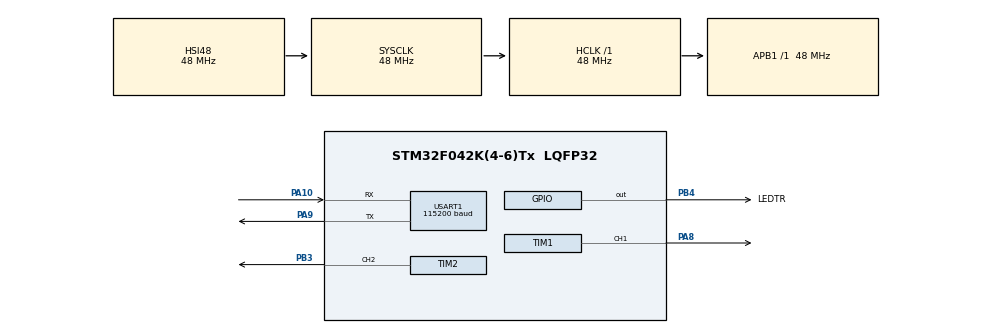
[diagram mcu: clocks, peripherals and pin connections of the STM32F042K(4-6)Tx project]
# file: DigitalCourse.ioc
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Mcu.Family=STM32F0
PA10.Mode=Asynchronous
USART1.BaudRate=115200
PA14.GPIO_Label=SWCLK
TIM2.Channel-PWM\ Generation2\ CH2=TIM_CHANNEL_2
RCC.SYSCLKSource=RCC_SYSCLKSOURCE_HSI48
ProjectManager.StackSize=0x400
USART1.VirtualMode-Asynchronous=VM_ASYNC
PA13.Signal=SYS_SWDIO
SH.S_TIM2_CH2.0=TIM2_CH2,PWM Generation2 CH2
PA9.Mode=Asynchronous
TIM1.Prescaler=48000-1
SH.S_TIM1_CH1.0=TIM1_CH1,PWM Generation1 CH1
ProjectManager.TargetToolchain=STM32CubeIDE
RCC.HCLKFreq_Value=48000000
PA9.Signal=USART1_TX
RCC.AHBFreq_Value=48000000
PF0-OSC_IN.Mode=HSE-External-Clock-Source
PF0-OSC_IN.GPIO_Label=MCO
board=NUCLEO-F042K6
PB4.GPIO_Label=LEDTR
TIM1.Channel-PWM\ Generation1\ CH1=TIM_CHANNEL_1
PA14.Mode=Serial_Wire
NVIC.TIM2_IRQn=true\:0\:0\:false\:false\:true\:true\:true
PA8.Signal=S_TIM1_CH1
TIM2.Period=0
PA13.Mode=Serial_Wire
Mcu.Name=STM32F042K(4-6)Tx
PA13.GPIO_Label=SWDIO
NVIC.TIM1_CC_IRQn=true\:0\:0\:false\:false\:true\:true\:true
PB3.Signal=S_TIM2_CH2
RCC.SYSCLKFreq_VALUE=48000000
Mcu.Package=LQFP32
TIM2.Prescaler=480-1
PA10.Signal=USART1_RX
PA14.Signal=SYS_SWCLK
ProjectManager.HeapSize=0x200
RCC.APB1TimFreq_Value=48000000
TIM1.Period=1000
PF0-OSC_IN.Signal=RCC_OSC_IN
RCC.APB1Freq_Value=48000000
PB4.Signal=GPIO_Output

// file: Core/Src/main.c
/* USER CODE BEGIN Header */
/**
  ******************************************************************************
  * @file           : main.c
  * @brief          : Main program body
  ******************************************************************************
  * @attention
  *
  * <h2><center>&copy; Copyright (c) 2021 STMicroelectronics.
  * All rights reserved.</center></h2>
  *
  * This software component is licensed by ST under BSD 3-Clause license,
  * the "License"; You may not use this file except in compliance with the
  * License. You may obtain a copy of the License at:
  *                        opensource.org/licenses/BSD-3-Clause
  *
  ******************************************************************************
  */
/* USER CODE END Header */
#include "main.h"

/* USER CODE BEGIN Includes */
#include <string.h>
#include <stdlib.h>
#include <stdio.h>
/* USER CODE END Includes */

TIM_HandleTypeDef htim1;
TIM_HandleTypeDef htim2;

UART_HandleTypeDef huart1;

void SystemClock_Config(void);
static void MX_GPIO_Init(void);
static void MX_USART1_UART_Init(void);
static void MX_TIM1_Init(void);
static void MX_TIM2_Init(void);

/* USER CODE BEGIN 0 */

  uint16_t StrCounter = 0;
  uint8_t buf = 0;
  char string[1024] = { 0 };
  char text[1025] = { 0 };
  char briefly[3] = {8, 32, 8};
  int pulse = 0;
  int dir = 10;
  _Bool flag = 0;
  char FixText[256][8] = { 0 };

  //Прерывание таймера
  void HAL_TIM_PWM_PulseFinishedCallback(TIM_HandleTypeDef *htim){
//	  char *test = "callback\r\n";
//	  HAL_UART_Transmit(&huart1, test, strlen(test), -1);

	  if(htim == &htim2){
		  pulse += dir;
		  if(pulse == 150){
			  dir = -1;
		  } else if(pulse == 0){
			  dir = 1;
		  }
		  TIM2->CCR2 = pulse;
	  }
//	  else if(htim == &htim1){
//		  if(flag == 1){
//			  htim1.Instance->CCR1 = 750;
//			  HAL_Delay(1000);
//			  htim1.Instance->CCR1 = 250;
//			  HAL_Delay(1000);
//			  htim1.Instance->CCR1 = 250;
//			  HAL_Delay(1000);
//
//			  HAL_GPIO_WritePin(LEDTR_GPIO_Port, LEDTR_Pin, GPIO_PIN_SET);
//
//			  for(int a = 0; a < 256; a++){
//				  for(int b = 0; b < 8; b++){
//					  if(FixText[a][b] == 0){
//						  TIM1->CCR1 = 250;
//					  }else if(FixText[a][b] == 1){
//						  TIM1->CCR1 = 750;
//					  } else TIM1->CCR1 = 1000;
////					  HAL_Delay(1000);
//				  }
//			  }
//	  		  HAL_GPIO_WritePin(LEDTR_GPIO_Port, LEDTR_Pin, GPIO_PIN_RESET);
//			  char *test = "callback end\r\n";
//			  HAL_UART_Transmit(&huart1, test, strlen(test), -1);
//			  flag = 0;
//		  }
//	  }
  }

/* USER CODE END 0 */

int main(void)
{

  /* MCU Configuration--------------------------------------------------------*/

  /* Reset of all peripherals, Initializes the Flash interface and the Systick. */
  HAL_Init();

  /* Configure the system clock */
  SystemClock_Config();

  /* Initialize all configured peripherals */
  MX_GPIO_Init();
  MX_USART1_UART_Init();
  MX_TIM1_Init();
  MX_TIM2_Init();
  /* USER CODE BEGIN 2 */
	HAL_TIM_PWM_Start_IT(&htim1, TIM_CHANNEL_1);
	HAL_TIM_PWM_Start_IT(&htim2, TIM_CHANNEL_2);

	TIM2->CCR2 = 500;
	TIM2->ARR = 1000;
	  //Здороваюсь
	  char *hello = "\r\nAsk me:  ";
	  HAL_UART_Transmit(&huart1, hello, strlen(hello), -1);

  /* USER CODE END 2 */

  /* Infinite loop */
  /* USER CODE BEGIN WHILE */
  while (1)
  {

	  // Передача данных, если пришло удаление
	  if(HAL_UART_Receive(&huart1, &buf, 1, 0)== HAL_OK) {
//		  HAL_GPIO_WritePin(LEDTR_GPIO_Port, LEDTR_Pin, GPIO_PIN_SET);

		  if(buf == 127){
			  if(StrCounter != 0){
				  HAL_UART_Transmit(&huart1, &briefly, 3, -1);
				  string[--StrCounter] = 0;
			  }
		  } else {
			  HAL_UART_Transmit(&huart1, &buf, 1, -1);
			  string[StrCounter] = buf;
			  StrCounter++;
		  }

	  // Передача данных на компьютер
	  	  if(buf == 13){
	  		  StrCounter--;
	  		  sprintf(text, "\r\nText is: %s\r\n", string);
	  		  HAL_UART_Transmit(&huart1, text, strlen(text), -1);

	  		  char FixText[StrCounter][8];
	  		  for(uint16_t i = 0; i < StrCounter; i++){
	  			  for(uint16_t j = 0; j < 8; j++){
	  				  FixText[i][j] = 0;
	  			  }
	  		  }
			  //Передача строки в PWM
//	  		  char *TR = "Transmitting...\r\n";
//	  		  HAL_UART_Transmit(&huart1, TR, strlen(TR), -1);

	  		  for(uint16_t i = 0; i < StrCounter; i++){

	  			  //Запись символа в 10 системе
	  			  char symbol = string[i]; // 62, 2 ,3, 4
	  			  int cell = 7;

	  			  // Перевод символа в двоичную систему
	  			  while(symbol != 0){
	  				  if(symbol % 2 == 0){
	  					  FixText[i][cell] = 0;
	  					  symbol /= 2;
	  					  cell--;
	  				  } else {
	  					  FixText[i][cell] = 1;
	  					  symbol /= 2;
	  					  cell--;
	  				  }
	  			  }

	  		  }
  			  //Работа с таймером PWM
//	  		  flag = 1;

			htim1.Instance->CCR1 = 750;
			HAL_Delay(1000);
			htim1.Instance->CCR1 = 250;
			HAL_Delay(1000);
			htim1.Instance->CCR1 = 750;
			HAL_Delay(1000);

	  		  for(int a = 0; a < StrCounter; a++){
	  			  for(int b = 0; b < 8; b++){
	  				  if(FixText[a][b] == 0){
	  					  htim1.Instance->CCR1 = 250;
	  				  } else if(FixText[a][b] == 1){
	  					  htim1.Instance->CCR1 = 750;
	  				  } else htim1.Instance->CCR1 = 1000;
	  				  HAL_Delay(1000);
	  			  }
	  		  }

  			  //Конец работы в PWM
	  		char *EndTR = "End transmittin...\r\n";
	  		HAL_UART_Transmit(&huart1, EndTR, strlen(EndTR), -1);
	  		htim1.Instance->CCR1 = 0;

  			  // Очистка массива
	  		  for(uint16_t k = 0; k < 1024; k++){
	  			  string[k] = 0;
	  		  }
	  		  HAL_UART_Transmit(&huart1, hello, strlen(hello), -1);
	  		  StrCounter = 0;
	  	  }

	  	  buf = 0;
//  		  HAL_GPIO_WritePin(LEDTR_GPIO_Port, LEDTR_Pin, GPIO_PIN_RESET);

	  }

//	  //Мигание светодиода на отладке
//	  uint16_t tick = __HAL_TIM_GET_COUNTER(&htim14);
//	  if(0 < tick && tick < 100){
//		  HAL_GPIO_WritePin(LED_GPIO_Port, LED_Pin, GPIO_PIN_RESET);
//	  } else {
//		  HAL_GPIO_WritePin(LED_GPIO_Port, LED_Pin, GPIO_PIN_SET);
//	  }

    /* USER CODE END WHILE */

  }
}

void SystemClock_Config(void)
{
  RCC_OscInitTypeDef RCC_OscInitStruct = {0};
  RCC_ClkInitTypeDef RCC_ClkInitStruct = {0};
  RCC_PeriphCLKInitTypeDef PeriphClkInit = {0};

  /** Initializes the RCC Oscillators according to the specified parameters
  * in the RCC_OscInitTypeDef structure.
  */
  RCC_OscInitStruct.OscillatorType = RCC_OSCILLATORTYPE_HSI48;
  RCC_OscInitStruct.HSI48State = RCC_HSI48_ON;
  RCC_OscInitStruct.PLL.PLLState = RCC_PLL_NONE;
  if (HAL_RCC_OscConfig(&RCC_OscInitStruct) != HAL_OK)
  {
    Error_Handler();
  }
  /** Initializes the CPU, AHB and APB buses clocks
  */
  RCC_ClkInitStruct.ClockType = RCC_CLOCKTYPE_HCLK|RCC_CLOCKTYPE_SYSCLK
                              |RCC_CLOCKTYPE_PCLK1;
  RCC_ClkInitStruct.SYSCLKSource = RCC_SYSCLKSOURCE_HSI48;
  RCC_ClkInitStruct.AHBCLKDivider = RCC_SYSCLK_DIV1;
  RCC_ClkInitStruct.APB1CLKDivider = RCC_HCLK_DIV1;

  if (HAL_RCC_ClockConfig(&RCC_ClkInitStruct, FLASH_LATENCY_1) != HAL_OK)
  {
    Error_Handler();
  }
  PeriphClkInit.PeriphClockSelection = RCC_PERIPHCLK_USART1;
  PeriphClkInit.Usart1ClockSelection = RCC_USART1CLKSOURCE_PCLK1;
  if (HAL_RCCEx_PeriphCLKConfig(&PeriphClkInit) != HAL_OK)
  {
    Error_Handler();
  }
}

static void MX_TIM1_Init(void)
{

  TIM_MasterConfigTypeDef sMasterConfig = {0};
  TIM_OC_InitTypeDef sConfigOC = {0};
  TIM_BreakDeadTimeConfigTypeDef sBreakDeadTimeConfig = {0};

  htim1.Instance = TIM1;
  htim1.Init.Prescaler = 48000-1;
  htim1.Init.CounterMode = TIM_COUNTERMODE_UP;
  htim1.Init.Period = 1000;
  htim1.Init.ClockDivision = TIM_CLOCKDIVISION_DIV1;
  htim1.Init.RepetitionCounter = 0;
  htim1.Init.AutoReloadPreload = TIM_AUTORELOAD_PRELOAD_DISABLE;
  if (HAL_TIM_PWM_Init(&htim1) != HAL_OK)
  {
    Error_Handler();
  }
  sMasterConfig.MasterOutputTrigger = TIM_TRGO_RESET;
  sMasterConfig.MasterSlaveMode = TIM_MASTERSLAVEMODE_DISABLE;
  if (HAL_TIMEx_MasterConfigSynchronization(&htim1, &sMasterConfig) != HAL_OK)
  {
    Error_Handler();
  }
  sConfigOC.OCMode = TIM_OCMODE_PWM1;
  sConfigOC.Pulse = 0;
  sConfigOC.OCPolarity = TIM_OCPOLARITY_HIGH;
  sConfigOC.OCNPolarity = TIM_OCNPOLARITY_HIGH;
  sConfigOC.OCFastMode = TIM_OCFAST_DISABLE;
  sConfigOC.OCIdleState = TIM_OCIDLESTATE_RESET;
  sConfigOC.OCNIdleState = TIM_OCNIDLESTATE_RESET;
  if (HAL_TIM_PWM_ConfigChannel(&htim1, &sConfigOC, TIM_CHANNEL_1) != HAL_OK)
  {
    Error_Handler();
  }
  sBreakDeadTimeConfig.OffStateRunMode = TIM_OSSR_DISABLE;
  sBreakDeadTimeConfig.OffStateIDLEMode = TIM_OSSI_DISABLE;
  sBreakDeadTimeConfig.LockLevel = TIM_LOCKLEVEL_OFF;
  sBreakDeadTimeConfig.DeadTime = 0;
  sBreakDeadTimeConfig.BreakState = TIM_BREAK_DISABLE;
  sBreakDeadTimeConfig.BreakPolarity = TIM_BREAKPOLARITY_HIGH;
  sBreakDeadTimeConfig.AutomaticOutput = TIM_AUTOMATICOUTPUT_DISABLE;
  if (HAL_TIMEx_ConfigBreakDeadTime(&htim1, &sBreakDeadTimeConfig) != HAL_OK)
  {
    Error_Handler();
  }
  HAL_TIM_MspPostInit(&htim1);

}

static void MX_TIM2_Init(void)
{

  TIM_MasterConfigTypeDef sMasterConfig = {0};
  TIM_OC_InitTypeDef sConfigOC = {0};

  htim2.Instance = TIM2;
  htim2.Init.Prescaler = 480-1;
  htim2.Init.CounterMode = TIM_COUNTERMODE_UP;
  htim2.Init.Period = 0;
  htim2.Init.ClockDivision = TIM_CLOCKDIVISION_DIV1;
  htim2.Init.AutoReloadPreload = TIM_AUTORELOAD_PRELOAD_DISABLE;
  if (HAL_TIM_PWM_Init(&htim2) != HAL_OK)
  {
    Error_Handler();
  }
  sMasterConfig.MasterOutputTrigger = TIM_TRGO_RESET;
  sMasterConfig.MasterSlaveMode = TIM_MASTERSLAVEMODE_DISABLE;
  if (HAL_TIMEx_MasterConfigSynchronization(&htim2, &sMasterConfig) != HAL_OK)
  {
    Error_Handler();
  }
  sConfigOC.OCMode = TIM_OCMODE_PWM1;
  sConfigOC.Pulse = 0;
  sConfigOC.OCPolarity = TIM_OCPOLARITY_HIGH;
  sConfigOC.OCFastMode = TIM_OCFAST_DISABLE;
  if (HAL_TIM_PWM_ConfigChannel(&htim2, &sConfigOC, TIM_CHANNEL_2) != HAL_OK)
  {
    Error_Handler();
  }
  HAL_TIM_MspPostInit(&htim2);

}

static void MX_USART1_UART_Init(void)
{

  huart1.Instance = USART1;
  huart1.Init.BaudRate = 115200;
  huart1.Init.WordLength = UART_WORDLENGTH_8B;
  huart1.Init.StopBits = UART_STOPBITS_1;
  huart1.Init.Parity = UART_PARITY_NONE;
  huart1.Init.Mode = UART_MODE_TX_RX;
  huart1.Init.HwFlowCtl = UART_HWCONTROL_NONE;
  huart1.Init.OverSampling = UART_OVERSAMPLING_16;
  huart1.Init.OneBitSampling = UART_ONE_BIT_SAMPLE_DISABLE;
  huart1.AdvancedInit.AdvFeatureInit = UART_ADVFEATURE_NO_INIT;
  if (HAL_UART_Init(&huart1) != HAL_OK)
  {
    Error_Handler();
  }

}

static void MX_GPIO_Init(void)
{
  GPIO_InitTypeDef GPIO_InitStruct = {0};

  /* GPIO Ports Clock Enable */
  __HAL_RCC_GPIOF_CLK_ENABLE();
  __HAL_RCC_GPIOA_CLK_ENABLE();
  __HAL_RCC_GPIOB_CLK_ENABLE();

  /*Configure GPIO pin Output Level */
  HAL_GPIO_WritePin(LEDTR_GPIO_Port, LEDTR_Pin, GPIO_PIN_RESET);

  /*Configure GPIO pin : LEDTR_Pin */
  GPIO_InitStruct.Pin = LEDTR_Pin;
  GPIO_InitStruct.Mode = GPIO_MODE_OUTPUT_PP;
  GPIO_InitStruct.Pull = GPIO_NOPULL;
  GPIO_InitStruct.Speed = GPIO_SPEED_FREQ_LOW;
  HAL_GPIO_Init(LEDTR_GPIO_Port, &GPIO_InitStruct);

}

void Error_Handler(void)
{
  __disable_irq();
  while (1)
  {
  }
}

/************************ (C) COPYRIGHT STMicroelectronics *****END OF FILE****/
